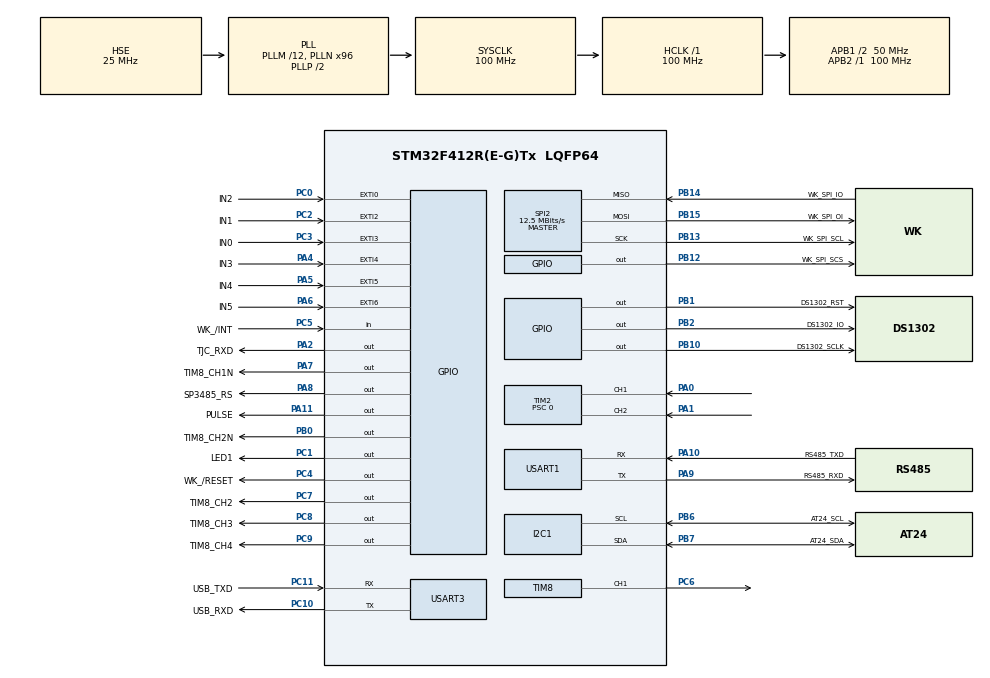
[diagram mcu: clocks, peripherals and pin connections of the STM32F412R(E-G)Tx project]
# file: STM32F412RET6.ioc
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Dma.Request0=USART1_RX
Dma.Request1=USART1_TX
Dma.USART1_RX.0.Direction=DMA_PERIPH_TO_MEMORY
Dma.USART1_RX.0.FIFOMode=DMA_FIFOMODE_DISABLE
Dma.USART1_RX.0.Instance=DMA2_Stream2
Dma.USART1_RX.0.MemDataAlignment=DMA_MDATAALIGN_BYTE
Dma.USART1_RX.0.MemInc=DMA_MINC_ENABLE
Dma.USART1_RX.0.Mode=DMA_NORMAL
Dma.USART1_RX.0.PeriphDataAlignment=DMA_PDATAALIGN_BYTE
Dma.USART1_RX.0.PeriphInc=DMA_PINC_DISABLE
Dma.USART1_RX.0.Priority=DMA_PRIORITY_LOW
Dma.USART1_TX.1.Direction=DMA_MEMORY_TO_PERIPH
Dma.USART1_TX.1.FIFOMode=DMA_FIFOMODE_DISABLE
Dma.USART1_TX.1.Instance=DMA2_Stream7
Dma.USART1_TX.1.MemDataAlignment=DMA_MDATAALIGN_BYTE
Dma.USART1_TX.1.MemInc=DMA_MINC_ENABLE
Dma.USART1_TX.1.Mode=DMA_NORMAL
Dma.USART1_TX.1.PeriphDataAlignment=DMA_PDATAALIGN_BYTE
Dma.USART1_TX.1.PeriphInc=DMA_PINC_DISABLE
Dma.USART1_TX.1.Priority=DMA_PRIORITY_LOW
FREERTOS.Queues01=myQueue01,5,uint8_t,0,Dynamic,NULL,NULL
FREERTOS.Tasks01=defaultTask,24,128,StartDefaultTask,Default,NULL,Dynamic,NULL,NULL;myTask01,8,128,StartTask01,Default,NULL,Dynamic,NULL,NULL
FREERTOS.configMAX_TASK_NAME_LEN=32
I2C1.I2C_Mode=I2C_Fast
IWDG.Prescaler=IWDG_PRESCALER_256
IWDG.Reload=4000
Mcu.Family=STM32F4
Mcu.Name=STM32F412R(E-G)Tx
Mcu.Package=LQFP64
NVIC.DMA2_Stream2_IRQn=true\:5\:0\:false\:false\:true\:true\:false\:true\:true
NVIC.DMA2_Stream7_IRQn=true\:5\:0\:false\:false\:true\:true\:false\:true\:true
NVIC.EXTI0_IRQn=true\:5\:0\:false\:false\:true\:true\:true\:true\:true
NVIC.EXTI2_IRQn=true\:5\:0\:false\:false\:true\:true\:true\:true\:true
NVIC.EXTI3_IRQn=true\:5\:0\:false\:false\:true\:true\:true\:true\:true
NVIC.I2C1_ER_IRQn=true\:5\:0\:false\:false\:true\:true\:true\:true\:true
NVIC.I2C1_EV_IRQn=true\:5\:0\:false\:false\:true\:true\:true\:true\:true
NVIC.PriorityGroup=NVIC_PRIORITYGROUP_4
NVIC.SPI2_IRQn=true\:5\:0\:false\:false\:true\:true\:true\:true\:true
NVIC.TIM1_UP_TIM10_IRQn=true\:15\:0\:false\:false\:true\:false\:false\:true\:true
NVIC.TIM2_IRQn=true\:5\:0\:true\:false\:true\:true\:true\:true\:true
NVIC.TIM3_IRQn=true\:6\:0\:true\:false\:true\:true\:true\:true\:true
NVIC.TIM8_BRK_TIM12_IRQn=true\:5\:0\:false\:false\:true\:true\:true\:true\:true
NVIC.TIM8_CC_IRQn=true\:5\:0\:false\:false\:true\:true\:true\:true\:true
NVIC.TIM8_TRG_COM_TIM14_IRQn=true\:5\:0\:false\:false\:true\:true\:true\:true\:true
NVIC.TIM8_UP_TIM13_IRQn=true\:5\:0\:false\:false\:true\:true\:true\:true\:true
NVIC.TimeBase=TIM1_UP_TIM10_IRQn
NVIC.TimeBaseIP=TIM1
NVIC.USART1_IRQn=true\:5\:0\:false\:false\:true\:true\:true\:true\:true
NVIC.USART3_IRQn=true\:5\:0\:false\:false\:true\:true\:true\:true\:true
PA0.GPIO_PuPd=GPIO_PULLUP
PA0.Signal=S_TIM2_CH1_ETR
PA1.GPIO_PuPd=GPIO_PULLUP
PA1.Signal=S_TIM2_CH2
PA10.GPIO_Label=RS485_TXD
PA10.Mode=Asynchronous
PA10.Signal=USART1_RX
PA11.GPIO_Label=PULSE
PA11.GPIO_PuPd=GPIO_PULLDOWN
PA11.Signal=GPIO_Output
PA13.GPIO_Label=TMS
PA13.Mode=JTAG_5_pins
PA13.Signal=SYS_JTMS-SWDIO
PA14.GPIO_Label=TCK
PA14.Mode=JTAG_5_pins
PA14.Signal=SYS_JTCK-SWCLK
PA15.GPIO_Label=TDI
PA15.Mode=JTAG_5_pins
PA15.Signal=SYS_JTDI
PA2.GPIO_Label=TJC_RXD
PA2.GPIO_PuPd=GPIO_PULLDOWN
PA2.Signal=GPIO_Output
PA4.GPIO_Label=IN3
PA4.GPIO_ModeDefaultEXTI=GPIO_MODE_IT_FALLING
PA4.Signal=GPXTI4
PA5.GPIO_Label=IN4
PA5.GPIO_ModeDefaultEXTI=GPIO_MODE_IT_FALLING
PA5.Signal=GPXTI5
PA6.GPIO_Label=IN5
PA6.GPIO_ModeDefaultEXTI=GPIO_MODE_IT_FALLING
PA6.Signal=GPXTI6
PA7.GPIO_Label=TIM8_CH1N
PA7.GPIO_PuPd=GPIO_NOPULL
PA7.PinState=GPIO_PIN_RESET
PA7.Signal=GPIO_Output
PA8.GPIO_Label=SP3485_RS
PA8.Signal=GPIO_Output
PA9.GPIO_Label=RS485_RXD
PA9.Mode=Asynchronous
PA9.Signal=USART1_TX
PB0.GPIO_Label=TIM8_CH2N
PB0.GPIO_PuPd=GPIO_PULLUP
PB0.PinState=GPIO_PIN_RESET
PB0.Signal=GPIO_Output
PB1.GPIO_Label=DS1302_RST
PB1.Signal=GPIO_Output
PB10.GPIO_Label=DS1302_SCLK
PB10.GPIO_PuPd=GPIO_PULLUP
PB10.Signal=GPIO_Output
PB12.GPIO_Label=WK_SPI_SCS
PB12.GPIO_ModeDefaultOutputPP=GPIO_MODE_OUTPUT_PP
PB12.GPIO_PuPd=GPIO_PULLUP
PB12.Signal=GPIO_Output
PB13.GPIO_Label=WK_SPI_SCL
PB13.Mode=Full_Duplex_Master
PB13.Signal=SPI2_SCK
PB14.GPIO_Label=WK_SPI_IO
PB14.Mode=Full_Duplex_Master
PB14.Signal=SPI2_MISO
PB15.GPIO_Label=WK_SPI_OI
PB15.Mode=Full_Duplex_Master
PB15.Signal=SPI2_MOSI
PB2.GPIO_Label=DS1302_IO
PB2.Signal=GPIO_Output
PB3.GPIO_Label=TDO
PB3.Mode=JTAG_5_pins
PB3.Signal=SYS_JTDO-SWO
PB4.GPIO_Label=NTRST
PB4.Mode=JTAG_5_pins
PB4.Signal=SYS_JTRST
PB6.GPIO_Label=AT24_SCL
PB6.Mode=I2C
PB6.Signal=I2C1_SCL
PB7.GPIO_Label=AT24_SDA
PB7.Mode=I2C
PB7.Signal=I2C1_SDA
PC0.GPIO_Label=IN2
PC0.GPIO_ModeDefaultEXTI=GPIO_MODE_IT_FALLING
PC0.Signal=GPXTI0
PC1.GPIO_Label=LED1
PC1.GPIO_PuPd=GPIO_PULLUP
PC1.Signal=GPIO_Output
PC10.GPIO_Label=USB_RXD
PC10.Mode=Asynchronous
PC10.Signal=USART3_TX
PC11.GPIO_Label=USB_TXD
PC11.Mode=Asynchronous
PC11.Signal=USART3_RX
PC2.GPIO_Label=IN1
PC2.GPIO_ModeDefaultEXTI=GPIO_MODE_IT_FALLING
PC2.Signal=GPXTI2
PC3.GPIO_Label=IN0
PC3.GPIO_ModeDefaultEXTI=GPIO_MODE_IT_FALLING
PC3.Signal=GPXTI3
PC4.GPIO_Label=WK_/RESET
PC4.Signal=GPIO_Output
PC5.GPIO_Label=WK_/INT
PC5.Signal=GPIO_Input
PC6.GPIO_Speed=GPIO_SPEED_FREQ_HIGH
PC6.Signal=S_TIM8_CH1
PC7.GPIO_Label=TIM8_CH2
PC7.GPIO_PuPd=GPIO_NOPULL
PC7.Signal=GPIO_Output
PC8.GPIO_Label=TIM8_CH3
PC8.GPIO_ModeDefaultOutputPP=GPIO_MODE_OUTPUT_PP
PC8.GPIO_PuPd=GPIO_PULLUP
PC8.PinState=GPIO_PIN_RESET
PC8.Signal=GPIO_Output
PC9.GPIO_Label=TIM8_CH4
PC9.GPIO_PuPd=GPIO_PULLUP
PC9.PinState=GPIO_PIN_RESET
PC9.Signal=GPIO_Output
PH0\ -\ OSC_IN.Mode=HSE-External-Oscillator
PH0\ -\ OSC_IN.Signal=RCC_OSC_IN
PH1\ -\ OSC_OUT.Mode=HSE-External-Oscillator
PH1\ -\ OSC_OUT.Signal=RCC_OSC_OUT
ProjectManager.HeapSize=0x200
ProjectManager.StackSize=0x400
ProjectManager.TargetToolchain=MDK-ARM V5.32
RCC.AHBFreq_Value=100000000
RCC.APB1CLKDivider=RCC_HCLK_DIV2
RCC.APB1Freq_Value=50000000
RCC.APB1TimFreq_Value=100000000
RCC.APB2Freq_Value=100000000
RCC.APB2TimFreq_Value=100000000
RCC.CortexFreq_Value=100000000
RCC.HCLKFreq_Value=100000000
RCC.PLLM=12
RCC.PLLN=96
RCC.PLLSourceVirtual=RCC_PLLSOURCE_HSE
RCC.SYSCLKFreq_VALUE=100000000
RCC.SYSCLKSource=RCC_SYSCLKSOURCE_PLLCLK
RCC.USBFreq_Value=100000000
RCC.VCOOutputFreq_Value=200000000
SH.S_TIM2_CH1_ETR.0=TIM2_CH1,Encoder_Interface
SH.S_TIM2_CH2.0=TIM2_CH2,Encoder_Interface
SH.S_TIM8_CH1.0=TIM8_CH1,PWM Generation1 CH1
SPI2.BaudRatePrescaler=SPI_BAUDRATEPRESCALER_4
SPI2.CLKPhase=SPI_PHASE_2EDGE
SPI2.CLKPolarity=SPI_POLARITY_HIGH
SPI2.CalculateBaudRate=12.5 MBits/s
SPI2.Direction=SPI_DIRECTION_2LINES
SPI2.Mode=SPI_MODE_MASTER
SPI2.VirtualType=VM_MASTER
TIM13.AutoReloadPreload=TIM_AUTORELOAD_PRELOAD_ENABLE
TIM13.Period=80-1
TIM13.Prescaler=100-1
TIM2.EncoderMode=TIM_ENCODERMODE_TI12
TIM2.IC1Filter=6
TIM2.IC2Filter=6
TIM2.Period=20000
TIM2.Prescaler=0
TIM3.AutoReloadPreload=TIM_AUTORELOAD_PRELOAD_ENABLE
TIM3.Period=1000-1
TIM3.Prescaler=100-1
TIM8.AutoReloadPreload=TIM_AUTORELOAD_PRELOAD_ENABLE
TIM8.Channel-PWM\ Generation1\ CH1=TIM_CHANNEL_1
TIM8.OCPolarity_1=TIM_OCPOLARITY_LOW
TIM8.Period=100-1
TIM8.Prescaler=100-1
TIM8.Pulse-PWM\ Generation1\ CH1=10
USART1.VirtualMode=VM_ASYNC
USART3.VirtualMode=VM_ASYNC
VP_FREERTOS_VS_CMSIS_V2.Mode=CMSIS_V2
VP_IWDG_VS_IWDG.Mode=IWDG_Activate
VP_SYS_VS_tim1.Mode=TIM1
VP_TIM13_VS_ClockSourceINT.Mode=Enable_Timer
VP_TIM3_VS_ClockSourceINT.Mode=Internal
board=custom

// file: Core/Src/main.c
/* USER CODE BEGIN Header */
/**
  ******************************************************************************
  * @file           : main.c
  * @brief          : Main program body
  ******************************************************************************
  * @attention
  *
  * Copyright (c) 2024 STMicroelectronics.
  * All rights reserved.
  *
  * This software is licensed under terms that can be found in the LICENSE file
  * in the root directory of this software component.
  * If no LICENSE file comes with this software, it is provided AS-IS.
  *
  ******************************************************************************
  */
/* USER CODE END Header */
#include "main.h"
#include "cmsis_os.h"
#include "dma.h"
#include "i2c.h"
#include "iwdg.h"
#include "spi.h"
#include "tim.h"
#include "usart.h"
#include "gpio.h"

void SystemClock_Config(void);
void MX_FREERTOS_Init(void);

int main(void)
{

  /* MCU Configuration--------------------------------------------------------*/

  /* Reset of all peripherals, Initializes the Flash interface and the Systick. */
  HAL_Init();

  /* Configure the system clock */
  SystemClock_Config();

  /* Initialize all configured peripherals */
  MX_GPIO_Init();
  MX_DMA_Init();
  MX_TIM2_Init();
  MX_USART1_UART_Init();
  MX_I2C1_Init();
  MX_SPI2_Init();
  MX_TIM3_Init();
  MX_TIM8_Init();
  MX_TIM13_Init();
  MX_USART3_UART_Init();
  MX_IWDG_Init();

  /* Init scheduler */
  osKernelInitialize();  /* Call init function for freertos objects (in freertos.c) */
  MX_FREERTOS_Init();

  /* Start scheduler */
  osKernelStart();

  /* We should never get here as control is now taken by the scheduler */
  /* Infinite loop */
  while (1)
  {

  }
}

void SystemClock_Config(void)
{
  RCC_OscInitTypeDef RCC_OscInitStruct = {0};
  RCC_ClkInitTypeDef RCC_ClkInitStruct = {0};

  /** Configure the main internal regulator output voltage
  */
  __HAL_RCC_PWR_CLK_ENABLE();
  __HAL_PWR_VOLTAGESCALING_CONFIG(PWR_REGULATOR_VOLTAGE_SCALE1);

  /** Initializes the RCC Oscillators according to the specified parameters
  * in the RCC_OscInitTypeDef structure.
  */
  RCC_OscInitStruct.OscillatorType = RCC_OSCILLATORTYPE_LSI|RCC_OSCILLATORTYPE_HSE;
  RCC_OscInitStruct.HSEState = RCC_HSE_ON;
  RCC_OscInitStruct.LSIState = RCC_LSI_ON;
  RCC_OscInitStruct.PLL.PLLState = RCC_PLL_ON;
  RCC_OscInitStruct.PLL.PLLSource = RCC_PLLSOURCE_HSE;
  RCC_OscInitStruct.PLL.PLLM = 12;
  RCC_OscInitStruct.PLL.PLLN = 96;
  RCC_OscInitStruct.PLL.PLLP = RCC_PLLP_DIV2;
  RCC_OscInitStruct.PLL.PLLQ = 2;
  RCC_OscInitStruct.PLL.PLLR = 2;
  if (HAL_RCC_OscConfig(&RCC_OscInitStruct) != HAL_OK)
  {
    Error_Handler();
  }

  /** Initializes the CPU, AHB and APB buses clocks
  */
  RCC_ClkInitStruct.ClockType = RCC_CLOCKTYPE_HCLK|RCC_CLOCKTYPE_SYSCLK
                              |RCC_CLOCKTYPE_PCLK1|RCC_CLOCKTYPE_PCLK2;
  RCC_ClkInitStruct.SYSCLKSource = RCC_SYSCLKSOURCE_PLLCLK;
  RCC_ClkInitStruct.AHBCLKDivider = RCC_SYSCLK_DIV1;
  RCC_ClkInitStruct.APB1CLKDivider = RCC_HCLK_DIV2;
  RCC_ClkInitStruct.APB2CLKDivider = RCC_HCLK_DIV1;

  if (HAL_RCC_ClockConfig(&RCC_ClkInitStruct, FLASH_LATENCY_3) != HAL_OK)
  {
    Error_Handler();
  }
}

/* USER CODE BEGIN 4 */

void HAL_GPIO_EXTI_Callback(uint16_t GPIO_Pin)//GPIO中断回调函数
{
	if(GPIO_Pin==IN0_Pin)//尾
	{
		flag_Extreme_position=1;
		flag_Zero_regression=0;
	}

	else if(GPIO_Pin==IN1_Pin)//原点
	{
		flag_Zero_regression=1;
		number_Hard_trigger_curren=0;
		DO_CEASE;//PA7-电机使能
		HAL_TIM_PWM_Stop_IT(&htim8,TIM_CHANNEL_1);//关闭PWM输出
		number_Motor_pulsec=0;
		flag_Encoder_processing=1;
		variable_Position=0;
		variable_Position_upload=0;
	}

	else if(GPIO_Pin==IN2_Pin)//头
	{
		flag_Extreme_position=1;
		flag_Zero_regression=0;
	}
}

/* USER CODE END 4 */

/**
  * @brief  Period elapsed callback in non blocking mode
  * @note   This function is called  when TIM1 interrupt took place, inside
  * HAL_TIM_IRQHandler(). It makes a direct call to HAL_IncTick() to increment
  * a global variable "uwTick" used as application time base.
  * @param  htim : TIM handle
  * @retval None
  */\
uint8_t asdf;
void HAL_TIM_PeriodElapsedCallback(TIM_HandleTypeDef *htim)
{
  if (htim->Instance == TIM1) {
    HAL_IncTick();
  }
  /* USER CODE BEGIN Callback 1 */
	if(htim->Instance==TIM8)//PWM输出
	{
		flag_Encoder_processing=1;
//		if(COROTATION&&MOTION&&AWAY)//正转
		if(COROTATION&&MOTION)//正转
		{
			number_Motor_pulsec++;
//			if(number_Motor_pulsec==10000)
//			{
//				DO_CEASE;//PA7-电机使能
//				HAL_TIM_PWM_Stop_IT(&htim8,TIM_CHANNEL_1);//关闭PWM输出
//			}
		}
//		else if(REVERSAL&&MOTION&&AWAY)//反转
		else if(REVERSAL&&MOTION)//反转
		{
			number_Motor_pulsec--;
		}
	}
	if(htim->Instance==TIM13)//硬触发定时50us一次
	{
		if(HAL_GPIO_ReadPin(TJC_RXD_GPIO_Port,TJC_RXD_Pin)==GPIO_PIN_SET)
		{
			asdf++;
			if(asdf==49)
			{
				HAL_TIM_Base_Stop_IT(&htim13);
				HAL_GPIO_WritePin(TJC_RXD_GPIO_Port, TJC_RXD_Pin, GPIO_PIN_RESET);//硬触发关闭
				asdf=0;
			}
		}
	}
  /* USER CODE END Callback 1 */
}

void Error_Handler(void)
{
  __disable_irq();
  while (1)
  {
  }
}

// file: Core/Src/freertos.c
/* USER CODE BEGIN Header */
/**
  ******************************************************************************
  * File Name          : freertos.c
  * Description        : Code for freertos applications
  ******************************************************************************
  * @attention
  *
  * Copyright (c) 2024 STMicroelectronics.
  * All rights reserved.
  *
  * This software is licensed under terms that can be found in the LICENSE file
  * in the root directory of this software component.
  * If no LICENSE file comes with this software, it is provided AS-IS.
  *
  ******************************************************************************
  */
/* USER CODE END Header */

#include "FreeRTOS.h"
#include "task.h"
#include "main.h"
#include "cmsis_os.h"

/* USER CODE BEGIN Includes */

/* TIM8_CH1(PWM输出)-OUT1；TIM8_CH1N(电机使能)-OUT2；TIM8_CH2(电机方向控制)-OUT3；TIM8_CH2N(伺服复位)-OUT4；TIM8_CH3(雷达上电)-OUT5；TIM8_CH4(清除滞留脉冲)-OUT6 */

/* USER CODE END Includes */

/* USER CODE BEGIN PTD */
wiz_NetInfo gWIZNETINFO = {
  .mac = { 0x80, 0x80, 0x80,0x80,0x80,0x80 },//MSB - LSB
  .ip  = { 192, 168, 1, 11 },
  .sn  = { 255, 255, 255, 0 },
  .gw  = { 192, 168, 1, 1 },//网关参数
  .dns  = { 8, 8, 8, 8 },
  .dhcp = NETINFO_STATIC };

uint8_t receive_buff[RECEIVE_BUFF_SIZE];

/***********************************************variable***********************************/
float    variable_Position=0;//距0点位置,单位mm
uint32_t variable_Position_upload=0;//距0点距离上传值（单位0.001mm）
uint32_t variable_Zero_return_speed_value=10000;//回零速度（单位0.001mm/s）
uint32_t variable_Running_speed_value=5000;//运行速度（单位0.001mm/s）
uint32_t variable_Target_position=0;//目标位置
uint32_t variable_Zero_position=0;//零点位置
uint32_t variable_Hard_trigger_interval=0;//硬触发时间间隔
uint32_t variable_Hard_trigger_position=0;//硬触发开始位置
uint32_t variable_Trigger_interval;//触发间隔
float    variable_Position_lastpulsec;//上次硬触发位置
uint16_t variable_Current_speed=0;//当前运行速度

/***********************************************flag***************************************/
uint8_t flag_Extreme_position=0;//极限位置标志位
uint8_t flag_Position_upload=1;//位置上传标志位
uint8_t flag_Encoder_processing=0;//编码器数据处理标志位
uint8_t flag_Zero_regression=0;//是否回零过标志位
uint8_t flag_Absolute_position=0;//绝对位置标志位
uint8_t flag_Hard_trigger_start=0;//硬触发开始标志位
uint8_t flag_Hard_trigger=0;//硬触发标志位
uint8_t flag_Motor_deceleration_stops=0;//点击减速停止标志位

/***********************************************number*************************************/
uint16_t number_Hard_trigger=0;//硬触发个数
uint16_t number_Hard_trigger_curren=0;//硬触发当前个数
uint8_t  number_Iwdg=0;//看门狗计数
int32_t  number_Motor_pulsec;//输入电机脉冲数

/* USER CODE END PTD */

/* Definitions for defaultTask */
osThreadId_t defaultTaskHandle;
const osThreadAttr_t defaultTask_attributes = {
  .name = "defaultTask",
  .stack_size = 128 * 4,
  .priority = (osPriority_t) osPriorityNormal,
};
/* Definitions for myTask01 */
osThreadId_t myTask01Handle;
const osThreadAttr_t myTask01_attributes = {
  .name = "myTask01",
  .stack_size = 128 * 4,
  .priority = (osPriority_t) osPriorityLow,
};
/* Definitions for myQueue01 */
osMessageQueueId_t myQueue01Handle;
const osMessageQueueAttr_t myQueue01_attributes = {
  .name = "myQueue01"
};

/* USER CODE BEGIN FunctionPrototypes */
osThreadId_t Ethernet_ServerTaskHandle;
const osThreadAttr_t Ethernet_ServerTask_attributes = {
  .name = "Ethernet_ServerTask",
  .stack_size = 256 * 4,
  .priority = (osPriority_t) osPriorityLow1,
};

osThreadId_t EncoderTaskHandle;
const osThreadAttr_t EncoderTask_attributes = {
  .name = "EncoderTask",
  .stack_size = 128 * 4,
  .priority = (osPriority_t) osPriorityLow1,
};

osThreadId_t DriveTaskHandle;
const osThreadAttr_t DriveTask_attributes = {
  .name = "DriveTask",
  .stack_size = 128 * 4,
  .priority = (osPriority_t) osPriorityLow1,
};

osThreadId_t Motor_driveTaskHandle;
const osThreadAttr_t Motor_driveTask_attributes = {
  .name = "Motor_driveTask",
  .stack_size = 128 * 4,
  .priority = (osPriority_t) osPriorityLow2,
};

osThreadId_t Pulse_EmissionTaskHandle;
const osThreadAttr_t Pulse_EmissionTask_attributes = {
  .name = "Pulse_EmissionTask",
  .stack_size = 128 * 4,
  .priority = (osPriority_t) osPriorityLow3,
};

osThreadId_t Extreme_position_DriveTaskHandle;
const osThreadAttr_t Extreme_position_DriveTask_attributes = {
  .name = "Extreme_position_DriveTask",
  .stack_size = 128 * 4,
  .priority = (osPriority_t) osPriorityLow,
};

osThreadId_t Uart3_CommunicateTaskHandle;
const osThreadAttr_t Uart3_CommunicateTask_attributes = {
  .name = "Uart3_CommunicateTask",
  .stack_size = 128 * 4,
  .priority = (osPriority_t) osPriorityLow,
};

osThreadId_t Iwdg_functionTaskHandle;
const osThreadAttr_t Iwdg_functionTask_attributes = {
  .name = "Iwdg_functionTask",
  .stack_size = 128 * 4,
  .priority = (osPriority_t) osPriorityLow,
};

osThreadId_t Motor_deceleration_stopsTaskHandle;
const osThreadAttr_t Motor_deceleration_stopsTask_attributes = {
  .name = "Motor_deceleration_stopsTask",
  .stack_size = 128 * 4,
  .priority = (osPriority_t) osPriorityLow2,
};

osMessageQueueId_t Ethernet_ReceiveHandle;
const osMessageQueueAttr_t Ethernet_Receive_attributes = {
  .name = "Ethernet_Receive"
};

osMessageQueueId_t Ethernet_SendHandle;
const osMessageQueueAttr_t Ethernet_Send_attributes = {
  .name = "Ethernet_Send"
};

osMessageQueueId_t Motor_driveQueueHandle;
const osMessageQueueAttr_t Motor_driveQueue_attributes = {
  .name = "Motor_driveQueue"
};

void Ethernet_Server(void *argument);//网络通信-服务端
void Encoder(void *argument);//电动机编码器通讯
void Drive(void *argument);//控制驱动器
void Motor_drive(void *argument);//电机加速启动
void Pulse_Emission(void *argument);//脉冲发射
void Extreme_position_Drive(void *argument);//极限位置控制
void Uart3_Communicate(void *argument);//极限位置控制
void Iwdg_function(void *argument);//看门狗函数
void Motor_deceleration_stops(void *argument);//电机减速停止
/* USER CODE END FunctionPrototypes */

void StartDefaultTask(void *argument);
void StartTask01(void *argument);

void MX_FREERTOS_Init(void); /* (MISRA C 2004 rule 8.1) */

void MX_FREERTOS_Init(void) {

  /* Create the queue(s) */
  /* creation of myQueue01 */
  myQueue01Handle = osMessageQueueNew (5, sizeof(uint8_t), &myQueue01_attributes);

  /* Create the thread(s) */
  /* creation of defaultTask */
  defaultTaskHandle = osThreadNew(StartDefaultTask, NULL, &defaultTask_attributes);

  /* creation of myTask01 */
  myTask01Handle = osThreadNew(StartTask01, NULL, &myTask01_attributes);

  /* USER CODE BEGIN RTOS_THREADS */
	Ethernet_ServerTaskHandle = osThreadNew(Ethernet_Server, NULL, &Ethernet_ServerTask_attributes);
	EncoderTaskHandle = osThreadNew(Encoder, NULL, &EncoderTask_attributes);
	DriveTaskHandle = osThreadNew(Drive, NULL, &DriveTask_attributes);
	Motor_driveTaskHandle = osThreadNew(Motor_drive, NULL, &Motor_driveTask_attributes);
	Pulse_EmissionTaskHandle = osThreadNew(Pulse_Emission, NULL, &Pulse_EmissionTask_attributes);
	Extreme_position_DriveTaskHandle = osThreadNew(Extreme_position_Drive, NULL, &Extreme_position_DriveTask_attributes);
	Uart3_CommunicateTaskHandle = osThreadNew(Uart3_Communicate, NULL, &Uart3_CommunicateTask_attributes);
	Iwdg_functionTaskHandle = osThreadNew(Iwdg_function, NULL, &Iwdg_functionTask_attributes);
	Motor_deceleration_stopsTaskHandle = osThreadNew(Motor_deceleration_stops, NULL, &Motor_deceleration_stopsTask_attributes);

	Ethernet_ReceiveHandle = osMessageQueueNew (10, 20*sizeof(uint8_t), &Ethernet_Receive_attributes);
	Ethernet_SendHandle = osMessageQueueNew (5, 20*sizeof(uint8_t), &Ethernet_Send_attributes);
	Motor_driveQueueHandle = osMessageQueueNew (5, 3*sizeof(uint8_t), &Motor_driveQueue_attributes);

  /* add threads, ... */
  /* USER CODE END RTOS_THREADS */

  /* USER CODE BEGIN RTOS_EVENTS */
	if(REACH)//原点判断
	{
		variable_Position=0;
		flag_Zero_regression=1;
		number_Motor_pulsec=0;
	}
	else
	{
		number_Motor_pulsec=0xffffff;
		variable_Position=2000;
	}
  /* add events, ... */
  /* USER CODE END RTOS_EVENTS */

}

void StartDefaultTask(void *argument)
{
  for(;;)
  {
    osDelay(1);
  }
}

void StartTask01(void *argument)
{
  /* USER CODE BEGIN StartTask01 */
  /* Infinite loop */
  for(;;)
  {
    osDelay(1);
		osDelay(100);
		HAL_GPIO_TogglePin(GPIOC, LED1_Pin);
  }
  /* USER CODE END StartTask01 */
}

/* USER CODE BEGIN Application */

void Ethernet_Server(void *argument)//网口通信-服务端
{
  W5500Init();//w5500初始化
  ctlnetwork(CN_SET_NETINFO, (void*)&gWIZNETINFO);  //配置网络参数
  wiz_PhyConf phyconf;
  phyconf.by = PHY_CONFBY_SW;
  phyconf.duplex = PHY_DUPLEX_FULL;
  phyconf.speed = PHY_SPEED_10;
  phyconf.mode = PHY_MODE_AUTONEGO;
  ctlwizchip(CW_SET_PHYCONF, (void*)&phyconf); //配置PHY参数
  for(;;)
  {
		net_process_socket(1, LISTEN_PORT_1);
		net_process_socket(2, LISTEN_PORT_2);
		osDelay(10);
  }
}

void Drive(void *argument)//控制驱动器
{
	uint8_t	 array_Send_buff[13];
	uint8_t  array_Drive_control[20];	//驱动器控制数组
	uint8_t  array_Motor_drive_send[3];//电机驱动数组
	uint8_t  status=0;
	uint32_t variable_Zero_return_creep_speed_value=0;//回零蠕变速度
	uint16_t number_Data_bytes=0;//数据字节
  for(;;)
  {
		osDelay(1);
		status=osMessageQueueGet(Ethernet_ReceiveHandle,array_Drive_control,NULL,10);
		if(status==osOK)
		{
			number_Iwdg=0;
			array_Send_buff[0]=array_Drive_control[0];//0X19;事务处理标识
			array_Send_buff[1]=array_Drive_control[1];//0XB2;事务处理标识
			array_Send_buff[2]=0X00;//协议标识符，00 00为modbus协议
			array_Send_buff[3]=0X00;//协议标识符，00 00为modbus协议
			array_Send_buff[6]=array_Drive_control[6];//0XDB;设备地址
			array_Send_buff[7]=array_Drive_control[7];//功能码
			switch(array_Drive_control[7])//判断功能码
			{
				case 0x01://读线圈(MBAP 功能码 起始地址H 起始地址L 线圈数量H 线圈数量L)
					if(array_Drive_control[8]==0x20)//判断起始地址
					{
						switch(array_Drive_control[9])//判断起始地址
						{
							case 0x0A://原点回归完成标志

								break;

							case 0x64://伺服运动状态
								array_Send_buff[4]=0X00;//数据长度
								array_Send_buff[5]=0X05;//数据长度
								array_Send_buff[8]=0X01;//接下来数据的字节长度
								if(MOTION)//运动
								{
									array_Send_buff[9]=0X01;//数据
								}
								else if(CEASE)//停止
								{
									array_Send_buff[9]=0X00;//数据
								}
								send(1,array_Send_buff,10);//向客户端发送
								break;

							case 0x01://原点回归/停止
								array_Send_buff[4]=0X00;//数据长度
								array_Send_buff[5]=0X05;//数据长度
								array_Send_buff[8]=0X01;//接下来数据的字节长度
								if(CEASE&&REACH)//回零
								{
									array_Send_buff[9]=0X00;
								}
								else//回零中
								{
									array_Send_buff[9]=0X01;
								}
								send(1,array_Send_buff,10);//向客户端发送
								break;

							case 0x02://正转点动/停止

								break;

							case 0x03://反转点动/停止

								break;

							case 0x04://相对运动/停止

								break;

							case 0x05://绝对运动/停止
								array_Send_buff[4]=0X00;//数据长度
								array_Send_buff[5]=0X05;//数据长度
								array_Send_buff[8]=0X01;//接下来数据的字节长度
								if(MOTION)//运动
								{
									array_Send_buff[9]=0X01;//数据
								}
								else if(CEASE)//停止
								{
									array_Send_buff[9]=0X00;//数据
								}
								send(1,array_Send_buff,10);//向客户端发送
								break;

							case 0x00://硬触发启动/停止
								array_Send_buff[4]=0X00;//数据长度
								array_Send_buff[5]=0X05;//数据长度
								array_Send_buff[8]=0X01;//接下来数据的字节长度
								if(flag_Hard_trigger_start==1)//触发
								{
									array_Send_buff[9]=0X01;//数据
								}
								else//停止
								{
									array_Send_buff[9]=0X00;//数据
								}
								send(1,array_Send_buff,10);//向客户端发送
								break;

							case 0x06://伺服复位
								array_Send_buff[4]=0X00;//数据长度
								array_Send_buff[5]=0X05;//数据长度
								array_Send_buff[8]=0X01;//接下来数据的字节长度
								array_Send_buff[9]=0X01;
								send(1,array_Send_buff,10);//向客户端发送
								break;

							case 0x09://雷达上电/断电
								array_Send_buff[4]=0X00;//数据长度
								array_Send_buff[5]=0X06;//数据长度
								array_Send_buff[8]=0X01;//接下来数据的字节长度
								if(RADAR_ON)//上电
								{
									array_Send_buff[9]=0X01;//数据
								}
								else if(RADAR_OFF)//断电
								{
									array_Send_buff[9]=0X00;//数据
								}
								send(1,array_Send_buff,10);//向客户端发送
								break;

							default:
								break;
						}
					}
					break;

				case 0x02://读离散量输入
					array_Send_buff[4]=0X00;//数据长度
					array_Send_buff[5]=0X04;//数据长度
					array_Send_buff[8]=0X01;//接下来数据的字节长度
					if(array_Drive_control[8]==0x00&&array_Drive_control[9]==0x01)//判断起始地址——正转极限光电状态
					{
						if(HAL_GPIO_ReadPin(IN2_GPIO_Port,IN2_Pin)==GPIO_PIN_RESET)//到达限位
						{
							array_Send_buff[9]=0X01;//数据
							send(1,array_Send_buff,10);//向客户端发送
						}
						else
						{
							array_Send_buff[9]=0X00;//数据
							send(1,array_Send_buff,10);//向客户端发送
						}
					}
					else if(array_Drive_control[8]==0x00&&array_Drive_control[9]==0x03)//判断起始地址——反转极限光电状态
					{
						if(HAL_GPIO_ReadPin(IN0_GPIO_Port,IN0_Pin)==GPIO_PIN_RESET)//到达限位
						{
							array_Send_buff[9]=0X01;//数据
							send(1,array_Send_buff,10);//向客户端发送
						}
						else
						{
							array_Send_buff[9]=0X00;//数据
							send(1,array_Send_buff,10);//向客户端发送
						}
					}
					else if(array_Drive_control[8]==0x00&&array_Drive_control[9]==0x04)//判断起始地址——零点限位触发状态
					{
						if(HAL_GPIO_ReadPin(IN1_GPIO_Port,IN1_Pin)==GPIO_PIN_RESET)//到达限位
						{
							array_Send_buff[9]=0X01;//数据
							send(1,array_Send_buff,10);//向客户端发送
						}
						else
						{
							array_Send_buff[9]=0X00;//数据
							send(1,array_Send_buff,10);//向客户端发送
						}
					}
					else if(array_Drive_control[8]==0x00&&array_Drive_control[9]==0x05)//判断起始地址——伺服报警状态
					{

					}
					break;

				case 0x03://读保持寄存器(MBAP 功能码 起始地址H 起始地址L 寄存器数量H 寄存器数量L)
					number_Data_bytes=(array_Drive_control[10]<<8|array_Drive_control[11])*2;//大端传输数据处理——读取数据字节
					array_Send_buff[4]=0X00;//数据长度
					array_Send_buff[5]=0x03+number_Data_bytes;//数据长度
					if(array_Drive_control[8]==0x01)//判断起始地址
					{
						if(number_Data_bytes==0x02)
						{
							if(array_Drive_control[9]==0x4A)//判断起始地址——加速时间
							{
								array_Send_buff[8]=number_Data_bytes;//接下来数据的字节长度
								array_Send_buff[9]=0X00;//数据
								array_Send_buff[10]=0X00;//数据
								send(1,array_Send_buff,11);//向客户端发送
							}
							else if(array_Drive_control[9]==0x4E)//判断起始地址——减速时间
							{
								array_Send_buff[8]=number_Data_bytes;//接下来数据的字节长度
								array_Send_buff[9]=0X00;//数据
								array_Send_buff[10]=0X00;//数据
								send(1,array_Send_buff,11);//向客户端发送
							}
							else if(array_Drive_control[9]==0x00)//判断起始地址——实时位置上传控制
							{
								array_Send_buff[8]=number_Data_bytes;//接下来数据的字节长度
								array_Send_buff[9]=(variable_Position_upload>>8)&0xFF;//数据
								array_Send_buff[10]=variable_Position_upload&0xFF;//数据
								send(1,array_Send_buff,11);//向客户端发送
							}
							else if(array_Drive_control[9]==0x30)//判断起始地址——硬触发个数
							{
								array_Send_buff[8]=number_Data_bytes;//接下来数据的字节长度
								array_Send_buff[9]=(number_Hard_trigger>>8)&0xFF;//数据
								array_Send_buff[10]=number_Hard_trigger&0xFF;//数据
								send(1,array_Send_buff,11);//向客户端发送
							}
							else if(array_Drive_control[9]==0x32)//判断起始地址——当前硬触发个数
							{
								array_Send_buff[8]=number_Data_bytes;//接下来数据的字节长度
								array_Send_buff[9]=0X00;//数据
								array_Send_buff[10]=0X00;//数据
								send(1,array_Send_buff,11);//向客户端发送
							}
							else if(array_Drive_control[9]==0x77)//判断起始地址——上电后是否执行过归零
							{
								array_Send_buff[8]=number_Data_bytes;//接下来数据的字节长度
								if(flag_Zero_regression==1)
								{
									array_Send_buff[9]=0X00;//数据
									array_Send_buff[10]=0X01;//数据
									send(1,array_Send_buff,11);//向客户端发送
								}
								else if(flag_Zero_regression==0)
								{
									array_Send_buff[9]=0X00;//数据
									array_Send_buff[10]=0X00;//数据
									send(1,array_Send_buff,11);//向客户端发送
								}
							}
						}
						else if(number_Data_bytes==0x04)
						{
							if(array_Drive_control[9]==0x2C)//判断起始地址——起始硬触发位置
							{
								array_Send_buff[8]=number_Data_bytes;//接下来数据的字节长度
								array_Send_buff[11]=(variable_Hard_trigger_position>>24)&0xFF;//数据
								array_Send_buff[12]=(variable_Hard_trigger_position>>16)&0xFF;//数据
								array_Send_buff[9]=(variable_Hard_trigger_position>>8)&0xFF;//数据
								array_Send_buff[10]=variable_Hard_trigger_position&0xFF;//数据
								send(1,array_Send_buff,13);//向客户端发送
							}
							else if(array_Drive_control[9]==0x2E)//判断起始地址——硬触发间隔
							{
								array_Send_buff[8]=number_Data_bytes;//接下来数据的字节长度
								array_Send_buff[11]=(variable_Hard_trigger_interval>>24)&0xFF;//寄存器1H-数据
								array_Send_buff[12]=(variable_Hard_trigger_interval>>16)&0xFF;//寄存器1L数据
								array_Send_buff[9]=(variable_Hard_trigger_interval>>8)&0xFF;//寄存器2H数据
								array_Send_buff[10]=variable_Hard_trigger_interval&0xFF;//寄存器2L数据
								send(1,array_Send_buff,13);//向客户端发送
							}
						}
					}

					else if(array_Drive_control[8]==0x00)//判断起始地址
					{
						if(number_Data_bytes==0x02)
						{
							if(array_Drive_control[9]==0x20)//判断起始地址——伺服错误代码
							{
								array_Send_buff[8]=number_Data_bytes;//接下来数据的字节长度
								array_Send_buff[9]=0X00;//数据
								array_Send_buff[10]=0X00;//数据
								send(1,array_Send_buff,11);//向客户端发送
							}
							else if(array_Drive_control[9]==0x96)//判断起始地址——PLC错误代码
							{
								array_Send_buff[8]=number_Data_bytes;//接下来数据的字节长度
								array_Send_buff[9]=0X00;//数据
								array_Send_buff[10]=0X00;//数据
								send(1,array_Send_buff,11);//向客户端发送
							}
						}
						else if(number_Data_bytes==0x04)
						{
							if(array_Drive_control[9]==0x64)//判断起始地址——回零速度
							{
								array_Send_buff[8]=number_Data_bytes;//接下来数据的字节长度
								array_Send_buff[11]=(variable_Zero_return_speed_value>>24)&0xFF;//数据
								array_Send_buff[12]=(variable_Zero_return_speed_value>>16)&0xFF;//数据
								array_Send_buff[9]=(variable_Zero_return_speed_value>>8)&0xFF;//数据
								array_Send_buff[10]=variable_Zero_return_speed_value&0xFF;//数据
								send(1,array_Send_buff,13);//向客户端发送
							}
							else if(array_Drive_control[9]==0x68)//判断起始地址——回零蠕变速度
							{
								array_Send_buff[8]=number_Data_bytes;//接下来数据的字节长度
								array_Send_buff[11]=(variable_Zero_return_creep_speed_value>>24)&0xFF;//寄存器1H-数据
								array_Send_buff[12]=(variable_Zero_return_creep_speed_value>>16)&0xFF;//寄存器1L-数据
								array_Send_buff[9]=(variable_Zero_return_creep_speed_value>>8)&0xFF;//寄存器2H-数据
								array_Send_buff[10]=variable_Zero_return_creep_speed_value&0xFF;//寄存器2L-数据
								send(1,array_Send_buff,13);//向客户端发送
							}
							else if(array_Drive_control[9]==0x78)//判断起始地址——运行速度
							{
								array_Send_buff[8]=number_Data_bytes;//接下来数据的字节长度
								array_Send_buff[11]=(variable_Running_speed_value>>24)&0xFF;//寄存器1H-数据
								array_Send_buff[12]=(variable_Running_speed_value>>16)&0xFF;//寄存器1L-数据
								array_Send_buff[9]=(variable_Running_speed_value>>8)&0xFF;//寄存器2H-数据
								array_Send_buff[10]=variable_Running_speed_value&0xFF;//寄存器2L-数据
								send(1,array_Send_buff,13);//向客户端发送
							}
							else if(array_Drive_control[9]==0x7A)//判断起始地址——相对定位距离
							{
								array_Send_buff[8]=number_Data_bytes;//接下来数据的字节长度
								array_Send_buff[11]=0X00;//寄存器1H-数据
								array_Send_buff[12]=0X00;//寄存器1L-数据
								array_Send_buff[9]=0X00;//寄存器2H-数据
								array_Send_buff[10]=0X00;//寄存器2L-数据
								send(1,array_Send_buff,13);//向客户端发送
							}
							else if(array_Drive_control[9]==0x7C)//判断起始地址——绝对定位位置
							{
								array_Send_buff[8]=number_Data_bytes;//接下来数据的字节长度
								array_Send_buff[11]=(variable_Target_position>>24)&0xFF;//寄存器1H-数据
								array_Send_buff[12]=(variable_Target_position>>16)&0xFF;//寄存器1L-数据
								array_Send_buff[9]=(variable_Target_position>>8)&0xFF;//寄存器2H-数据
								array_Send_buff[10]=variable_Target_position&0xFF;//寄存器2L-数据
								send(1,array_Send_buff,13);//向客户端发送
							}
							else if(array_Drive_control[9]==0x7E)//判断起始地址——设备最大运行行程
							{
								array_Send_buff[8]=number_Data_bytes;//接下来数据的字节长度
								array_Send_buff[9]=0X00;//寄存器1H-数据
								array_Send_buff[10]=0X00;//寄存器1L-数据
								array_Send_buff[11]=0X00;//寄存器2H-数据
								array_Send_buff[12]=0X00;//寄存器2L-数据
								send(1,array_Send_buff,13);//向客户端发送
							}
							else if(array_Drive_control[9]==0x80)//判断起始地址——零点位置坐标
							{
								array_Send_buff[8]=number_Data_bytes;//接下来数据的字节长度
								array_Send_buff[11]=(variable_Zero_position>>24)&0xFF;//寄存器1H-数据
								array_Send_buff[12]=(variable_Zero_position>>16)&0xFF;//寄存器1L-数据
								array_Send_buff[9]=(variable_Zero_position>>8)&0xFF;//寄存器2H-数据
								array_Send_buff[10]=variable_Zero_position&0xFF;//寄存器2L-数据
								send(1,array_Send_buff,13);//向客户端发送
							}
							else if(array_Drive_control[9]==0x87)//判断起始地址——实时位置主动读取
							{
								array_Send_buff[8]=number_Data_bytes;//接下来数据的字节长度
								array_Send_buff[11]=(variable_Position_upload>>24)&0xFF;//寄存器1H-数据
								array_Send_buff[12]=(variable_Position_upload>>16)&0xFF;//寄存器1L-数据
								array_Send_buff[9]=(variable_Position_upload>>8)&0xFF;//寄存器2H-数据
								array_Send_buff[10]=variable_Position_upload&0xFF;//寄存器2L-数据
								send(1,array_Send_buff,13);//向客户端发送
							}
						}
					}
					break;

				case 0x05://写单个线圈(请求：MBAP 功能码 寄存器地址H 寄存器地址L 数据H(FF/00) 数据L(00))
					array_Send_buff[4]=0X00;//数据长度
					array_Send_buff[5]=0X06;//数据长度
					array_Send_buff[8]=array_Drive_control[8];//寄存器地址H
					array_Send_buff[9]=array_Drive_control[9];//寄存器地址H
					if(array_Drive_control[8]==0x20)//判断起始地址
					{
						switch(array_Drive_control[9])//判断起始地址
						{
							case 0x01://原点回归/停止
								if(array_Drive_control[10]==0xFF)//回归
								{
									if(AWAY&&CEASE)//不在原点且停止运动
									{
										array_Send_buff[10]=0XFF;
										array_Send_buff[11]=0X00;
										send(1,array_Send_buff,12);//向客户端发送
										flag_Extreme_position=0;
										flag_Zero_regression=0;
										variable_Target_position=0;//绝对定位位置设置为0
										if(HAL_GPIO_ReadPin(IN0_GPIO_Port,IN0_Pin)==GPIO_PIN_RESET)//在头部-正向移动
										{
											array_Motor_drive_send[0]=GPIO_PIN_RESET;
											array_Motor_drive_send[1]=(variable_Zero_return_speed_value/1000)>>8&0xff;
											array_Motor_drive_send[2]=variable_Zero_return_speed_value/1000&0xff;
											osMessageQueuePut(Motor_driveQueueHandle,array_Motor_drive_send,1,0);
										}
										else
										{
											array_Motor_drive_send[0]=GPIO_PIN_SET;
											array_Motor_drive_send[1]=(variable_Zero_return_speed_value/1000)>>8&0xff;
											array_Motor_drive_send[2]=variable_Zero_return_speed_value/1000&0xff;
											osMessageQueuePut(Motor_driveQueueHandle,array_Motor_drive_send,1,0);
										}
									}
								}
								else if(array_Drive_control[10]==0x00)//停止
								{
									array_Send_buff[10]=0X00;
									array_Send_buff[11]=0X00;
									send(1,array_Send_buff,12);//向客户端发送
									DO_CEASE;//PA7-电机使能
									HAL_TIM_PWM_Stop_IT(&htim8,TIM_CHANNEL_1);//关闭PWM输出
								}
								break;

							case 0x02://正转点动/停止
								if(array_Drive_control[10]==0xFF)//开始
								{
									array_Send_buff[10]=0XFF;
									array_Send_buff[11]=0X00;
									send(1,array_Send_buff,12);//向客户端发送
									array_Motor_drive_send[0]=GPIO_PIN_RESET;
									array_Motor_drive_send[1]=(variable_Running_speed_value/1000)>>8&0xff;
									array_Motor_drive_send[2]=variable_Running_speed_value/1000&0xff;
									osMessageQueuePut(Motor_driveQueueHandle,array_Motor_drive_send,1,0);
								}
								else//停止
								{
									array_Send_buff[10]=0X00;
									array_Send_buff[11]=0X00;
									send(1,array_Send_buff,12);//向客户端发送
//									DO_CEASE;//PA7-电机使能
//									HAL_TIM_PWM_Stop_IT(&htim8,TIM_CHANNEL_1);//关闭PWM输出
									flag_Motor_deceleration_stops=3;
								}
								break;

							case 0x03://反转点动/停止
								if(array_Drive_control[10]==0xFF)//开始
								{
									array_Send_buff[10]=0XFF;
									array_Send_buff[11]=0X00;
									send(1,array_Send_buff,12);//向客户端发送
									array_Motor_drive_send[0]=GPIO_PIN_SET;
									array_Motor_drive_send[1]=(variable_Running_speed_value/1000)>>8&0xff;
									array_Motor_drive_send[2]=variable_Running_speed_value/1000&0xff;
									osMessageQueuePut(Motor_driveQueueHandle,array_Motor_drive_send,1,0);
								}
								else//停止
								{
									array_Send_buff[10]=0X00;
									array_Send_buff[11]=0X00;
									send(1,array_Send_buff,12);//向客户端发送
//									DO_CEASE;//PA7-电机使能
//									HAL_TIM_PWM_Stop_IT(&htim8,TIM_CHANNEL_1);//关闭PWM输出
									flag_Motor_deceleration_stops=3;
								}
								break;

							case 0x04://相对运动/停止
								if(array_Drive_control[10]==0xFF)//开始
								{
									array_Send_buff[10]=0XFF;
									array_Send_buff[11]=0X00;
									send(1,array_Send_buff,12);//向客户端发送
									if(CEASE)
									{
										array_Motor_drive_send[0]=GPIO_PIN_RESET;
										array_Motor_drive_send[1]=(variable_Running_speed_value/1000)>>8&0xff;
										array_Motor_drive_send[2]=variable_Running_speed_value/1000&0xff;
										osMessageQueuePut(Motor_driveQueueHandle,array_Motor_drive_send,1,0);
									}
								}
								else//停止
								{
									array_Send_buff[10]=0X00;
									array_Send_buff[11]=0X00;
									send(1,array_Send_buff,12);//向客户端发送
//									DO_CEASE;//PA7-电机使能
//									HAL_TIM_PWM_Stop_IT(&htim8,TIM_CHANNEL_1);//关闭PWM输出
									flag_Motor_deceleration_stops=3;
								}
								break;

							case 0x05://绝对运动/停止
								if(array_Drive_control[10]==0xFF)//开始
								{
									array_Send_buff[10]=0XFF;
									array_Send_buff[11]=0X00;
									send(1,array_Send_buff,12);//向客户端发送
									if(CEASE&&flag_Extreme_position==0)
									{
										if(variable_Position_upload*10<variable_Target_position||variable_Position<0)//当前位置小于目标位置或当前位置小于0-正向移动
										{
											array_Motor_drive_send[0]=GPIO_PIN_RESET;
											array_Motor_drive_send[1]=(variable_Running_speed_value/1000)>>8&0xff;
											array_Motor_drive_send[2]=variable_Running_speed_value/1000&0xff;
											osMessageQueuePut(Motor_driveQueueHandle,array_Motor_drive_send,1,0);
										}
										else if(variable_Position_upload*10>variable_Target_position&&AWAY)//当前位置大于目标位置且不在原点-反向移动
										{
											array_Motor_drive_send[0]=GPIO_PIN_SET;
											array_Motor_drive_send[1]=(variable_Running_speed_value/1000)>>8&0xff;
											array_Motor_drive_send[2]=variable_Running_speed_value/1000&0xff;
											osMessageQueuePut(Motor_driveQueueHandle,array_Motor_drive_send,1,0);
										}
									}
								}
								else//停止
								{
									array_Send_buff[10]=0X00;
									array_Send_buff[11]=0X00;
									send(1,array_Send_buff,12);//向客户端发送
//									DO_CEASE;//PA7-电机使能
//									HAL_TIM_PWM_Stop_IT(&htim8,TIM_CHANNEL_1);//关闭PWM输出
									flag_Motor_deceleration_stops=3;
								}
								break;

							case 0x14://停止运动状态
								if(array_Drive_control[10]==0xFF)//停止
								{
									array_Send_buff[10]=0XFF;
									array_Send_buff[11]=0X00;
//									DO_CEASE;//PA7-电机使能
//									HAL_TIM_PWM_Stop_IT(&htim8,TIM_CHANNEL_1);//关闭PWM输出
									flag_Motor_deceleration_stops=3;
								}
								else
								{
									array_Send_buff[10]=0X00;
									array_Send_buff[11]=0X00;
								}
								send(1,array_Send_buff,12);//向客户端发送
								break;

							case 0x00://硬触发启动/停止
								if(array_Drive_control[10]==0xFF)//开始
								{
									flag_Hard_trigger_start=1;
									array_Send_buff[10]=0XFF;
									array_Send_buff[11]=0X00;
								}
								else//停止
								{
									flag_Hard_trigger_start=0;
									array_Send_buff[10]=0X00;
									array_Send_buff[11]=0X00;
								}
								send(1,array_Send_buff,12);//向客户端发送
								break;

							case 0x06://伺服复位
								if(array_Drive_control[10]==0xFF)
								{
									array_Send_buff[10]=0XFF;
									array_Send_buff[11]=0X00;
									send(1,array_Send_buff,12);//向客户端发送
								}
								else if(array_Drive_control[10]==0x00)
								{
									array_Send_buff[10]=0X00;
									array_Send_buff[11]=0X00;
									send(1,array_Send_buff,12);//向客户端发送
								}
								break;

							case 0x07://伺服急停
								if(array_Drive_control[10]==0xFF)
								{
									array_Send_buff[10]=0XFF;
									array_Send_buff[11]=0X00;
								}
								else
								{
									array_Send_buff[10]=0X00;
									array_Send_buff[11]=0X00;
								}
								send(1,array_Send_buff,12);//向客户端发送
								break;

							case 0x09://雷达上电/断电
								if(array_Drive_control[10]==0xFF)
								{
									array_Send_buff[10]=0XFF;
									array_Send_buff[11]=0X00;
									DO_RADAR_ON;
								}
								else
								{
									array_Send_buff[10]=0X00;
									array_Send_buff[11]=0X00;
									DO_RADAR_OFF;
								}
								send(1,array_Send_buff,12);//向客户端发送
								break;

							case 0x0F://PLC错误清除
								if(array_Drive_control[10]==0xFF)
								{
									array_Send_buff[10]=0XFF;
									array_Send_buff[11]=0X00;
								}
								else
								{
									array_Send_buff[10]=0X00;
									array_Send_buff[11]=0X00;
								}
								send(1,array_Send_buff,12);//向客户端发送
								break;

							default:
								break;
						}
					}
					break;

				case 0x06://写单个保持寄存器(请求：MBAP 功能码 寄存器地址H 寄存器地址L 寄存器值H 寄存器值L)
//					if(CEASE)//未开始运动
//					{
						array_Send_buff[4]=0X00;//数据长度
						array_Send_buff[5]=0X06;//数据长度
						array_Send_buff[8]=array_Drive_control[8];//寄存器地址
						array_Send_buff[9]=array_Drive_control[9];//寄存器地址
						array_Send_buff[10]=array_Drive_control[10];//寄存器值H
						array_Send_buff[11]=array_Drive_control[11];//寄存器值L
						if(array_Drive_control[8]==0x01)//判断起始地址
						{
							if(array_Drive_control[9]==0x4A)//判断起始地址——加速时间
							{
								send(1,array_Send_buff,12);//向客户端发送
							}
							else if(array_Drive_control[9]==0x4E)//判断起始地址——减速时间
							{
								send(1,array_Send_buff,12);//向客户端发送
							}
							else if(array_Drive_control[9]==0x00)//判断起始地址——实时位置上传控制
							{
								if(array_Drive_control[10]||array_Drive_control[11])
								{
									flag_Position_upload=1;//开始实时位置上传
								}
								else
								{
									flag_Position_upload=0;//停止实时位置上传
								}
								send(1,array_Send_buff,12);//向客户端发送
							}
							else if(array_Drive_control[9]==0x30)//判断起始地址——硬触发个数
							{
								number_Hard_trigger=(array_Drive_control[10]<<8|array_Drive_control[11]);//大端传输数据处理——硬触发个数
								send(1,array_Send_buff,12);//向客户端发送
							}
						}
//					}
					break;

				case 0x10://写多个保持寄存器(请求：MBAP(7位) 功能码 起始地址H 起始地址L 寄存器数量H 寄存器数量L 字节长度 寄存器值)
//				if(CEASE)//未开始运动
//				{
						array_Send_buff[4]=0X00;//数据长度
						array_Send_buff[5]=0X06;//数据长度
						array_Send_buff[8]=array_Drive_control[8];//寄存器起始地址H
						array_Send_buff[9]=array_Drive_control[9];//寄存器起始地址L
						array_Send_buff[10]=array_Drive_control[10];//寄存器数量H
						array_Send_buff[11]=array_Drive_control[11];//寄存器数量L
						if(array_Drive_control[8]==0x00)//判断起始地址
						{
							if(array_Drive_control[9]==0x64)//判断起始地址——回零速度
							{
								variable_Zero_return_speed_value=(array_Drive_control[13]<<8|array_Drive_control[14]|array_Drive_control[15]<<24|array_Drive_control[16]<<16);//大端传输数据处理——回零速度0.001mm/s
								send(1,array_Send_buff,12);//向客户端发送
							}
							else if(array_Drive_control[9]==0x68)//判断起始地址——回零蠕变速度
							{
								variable_Zero_return_creep_speed_value=(array_Drive_control[13]<<8|array_Drive_control[14]|array_Drive_control[15]<<24|array_Drive_control[16]<<16);//大端传输数据处理——回零蠕变速度0.001mm/s
								send(1,array_Send_buff,12);//向客户端发送
							}
							else if(array_Drive_control[9]==0x78)//判断起始地址——运行速度
							{
//								variable_Running_speed_value=(array_Drive_control[13]<<24|array_Drive_control[14]<<16|array_Drive_control[15]<<8|array_Drive_control[16]);//大端传输数据处理——运行速度0.001mm/s
								variable_Running_speed_value=(array_Drive_control[13]<<8|array_Drive_control[14]|array_Drive_control[15]<<24|array_Drive_control[16]<<16);//大端传输数据处理——运行速度0.001mm/s
								send(1,array_Send_buff,12);//向客户端发送
							}
							else if(array_Drive_control[9]==0x7A)//判断起始地址——相对定位距离
							{
								send(1,array_Send_buff,12);//向客户端发送
							}
							else if(array_Drive_control[9]==0x7C)//判断起始地址——绝对定位位置
							{
								flag_Absolute_position=1;
								variable_Target_position=(array_Drive_control[13]<<8|array_Drive_control[14]|array_Drive_control[15]<<24|array_Drive_control[16]<<16);//大端传输数据处理——绝对定位位置0.001mm
								if(variable_Target_position==0x00)
								{
									flag_Extreme_position=0;
									flag_Zero_regression=0;
								}
								send(1,array_Send_buff,12);//向客户端发送
							}
							else if(array_Drive_control[9]==0x7E)//判断起始地址——设备最大运行行程
							{
								send(1,array_Send_buff,12);//向客户端发送
							}
							else if(array_Drive_control[9]==0x80)//判断起始地址——零点位置坐标
							{
								variable_Zero_position=(array_Drive_control[13]<<8|array_Drive_control[14]|array_Drive_control[15]<<24|array_Drive_control[16]<<16);//大端传输数据处理——零点位置0.001mm
								send(1,array_Send_buff,12);//向客户端发送
							}
						}
						else if(array_Drive_control[8]==0x01)//判断起始地址
						{
							if(array_Drive_control[9]==0x2C)//判断起始地址——起始硬触发位置
							{
								variable_Hard_trigger_position=(array_Drive_control[13]<<8|array_Drive_control[14]|array_Drive_control[15]<<24|array_Drive_control[16]<<16);//大端传输数据处理——起始硬触发位置0.001mm
								variable_Position_lastpulsec=variable_Hard_trigger_position;
								send(1,array_Send_buff,12);//向客户端发送
							}
							else if(array_Drive_control[9]==0x2E)//判断起始地址——硬触发间隔
							{
								variable_Hard_trigger_interval=(array_Drive_control[13]<<8|array_Drive_control[14]|array_Drive_control[15]<<24|array_Drive_control[16]<<16);//大端传输数据处理——硬触发间隔0.001mm
								send(1,array_Send_buff,12);//向客户端发送
							}
						}
//					}
					break;

				default:
					break;
			}
			memset(array_Send_buff,0,13);
			memset(array_Drive_control,0,20);
		}
  }
}

void Motor_drive(void *argument)//电机加速启动
{
	uint8_t  status=0;
	uint16_t number_v=0;
	uint16_t number_Reloading;
	uint8_t  array_Motor_drive_receive[3];//电机驱动数组
	__HAL_TIM_CLEAR_IT(&htim8, TIM_IT_UPDATE);
	HAL_TIM_Base_Start_IT(&htim8);//开启TIM8定时器中断（20KHZ，周期50us）
	for(;;)
	{
//		osDelay(1);
		status=osMessageQueueGet(Motor_driveQueueHandle,array_Motor_drive_receive,NULL,5);
		if(status==osOK)
		{
			variable_Current_speed=array_Motor_drive_receive[1]<<8|array_Motor_drive_receive[2];
			DO_MOTION;//PA7-电机使能
			osDelay(1);
			HAL_GPIO_WritePin(TIM8_CH2_GPIO_Port,TIM8_CH2_Pin,(GPIO_PinState)array_Motor_drive_receive[0]);//PC7-电机方向控制(GPIO_PIN_RESET:顺时针，GPIO_PIN_SET:逆时针）
			osDelay(1);
			while(variable_Current_speed>number_v&&MOTION)
			{
				number_v++;
				number_Reloading=(One_Circle_Distance*1000)/number_v;//自动重装载值n=(One_Circle_Distance*1000000*1000)/(variable_Running_speed_value*Subtraction)
				__HAL_TIM_SET_AUTORELOAD(&htim8,number_Reloading-1);//修改自动重装载值
				__HAL_TIM_SET_COMPARE(&htim8, TIM_CHANNEL_1, (number_Reloading/2)-1);//修改占空比
				HAL_TIM_PWM_Start_IT(&htim8,TIM_CHANNEL_1);//启动TIM8_CH1的PWM波输出（中断）
				osDelay(3);
			}
			number_v=0;
		}
		memset(array_Motor_drive_receive,0,3);
	}
}

void Encoder(void *argument)//电动机编码器通讯
{
	uint8_t Real_time_location_array[6]={0xCF,0xAE,0x00,0x00,0x00,0x00};//实时位置数组
  for(;;)
  {
		osDelay(1);
		if(flag_Encoder_processing==1)
		{
			flag_Encoder_processing=0;
			if(REACH)//原点校准
			{
				variable_Position=0;
				variable_Position_upload=0;
			}
			else if(AWAY)
			{
				variable_Position = ((float)number_Motor_pulsec/Subtraction)*One_Circle_Distance;	//距原点距离
				variable_Position_upload = variable_Position*100;//位置上传数据（单位0.01mm）
				if(flag_Zero_regression==1&&flag_Absolute_position==1)//之前回过零且接收到绝对位置
				{
					if(COROTATION)//正向移动
					{
						if(flag_Motor_deceleration_stops==0&&variable_Position_upload*10<variable_Target_position)
						{
							if(0<variable_Running_speed_value&&variable_Running_speed_value<=10000&&variable_Position_upload*10>=variable_Target_position-100)
							{
								flag_Motor_deceleration_stops=1;
							}
							else if(10000<variable_Running_speed_value&&variable_Running_speed_value<=20000&&variable_Position_upload*10>=variable_Target_position-600)
							{
								flag_Motor_deceleration_stops=1;
							}
							else if(20000<variable_Running_speed_value&&variable_Running_speed_value<=30000&&variable_Position_upload*10>=variable_Target_position-1350)
							{
								flag_Motor_deceleration_stops=1;
							}
							else if(30000<variable_Running_speed_value&&variable_Running_speed_value<=40000&&variable_Position_upload*10>=variable_Target_position-2450)
							{
								flag_Motor_deceleration_stops=1;
							}
							else if(40000<variable_Running_speed_value&&variable_Running_speed_value<=50000&&variable_Position_upload*10>=variable_Target_position-3750)
							{
								flag_Motor_deceleration_stops=1;
							}
							else if(50000<variable_Running_speed_value&&variable_Running_speed_value<=60000&&variable_Position_upload*10>=variable_Target_position-5450)
							{
								flag_Motor_deceleration_stops=1;
							}
							else if(60000<variable_Running_speed_value&&variable_Running_speed_value<=70000&&variable_Position_upload*10>=variable_Target_position-7400)
							{
								flag_Motor_deceleration_stops=1;
							}
							else if(70000<variable_Running_speed_value&&variable_Running_speed_value<=80000&&variable_Position_upload*10>=variable_Target_position-9650)
							{
								flag_Motor_deceleration_stops=1;
							}
							else if(80000<variable_Running_speed_value&&variable_Running_speed_value<=90000&&variable_Position_upload*10>=variable_Target_position-12400)
							{
								flag_Motor_deceleration_stops=1;
							}
							else if(90000<variable_Running_speed_value&&variable_Running_speed_value<=100000&&variable_Position_upload*10>=variable_Target_position-15250)
							{
								flag_Motor_deceleration_stops=1;
							}
						}
						else if(flag_Motor_deceleration_stops==2&&variable_Position_upload*10>=variable_Target_position)
						{
							DO_CEASE;//PA7-电机使能
							HAL_TIM_PWM_Stop_IT(&htim8,TIM_CHANNEL_1);//关闭PWM输出
							flag_Absolute_position=0;
							flag_Motor_deceleration_stops=0;
						}
						else if(flag_Motor_deceleration_stops==0&&variable_Position_upload*10>=variable_Target_position+1000)
						{
							flag_Motor_deceleration_stops=3;
							flag_Absolute_position=0;
						}
					}
					else if(REVERSAL)//反向移动
					{
						if(flag_Motor_deceleration_stops==0&&variable_Position_upload*10>variable_Target_position)
						{
							if(0<variable_Running_speed_value&&variable_Running_speed_value<=10000&&variable_Position_upload*10>=variable_Target_position+100)
							{
								flag_Motor_deceleration_stops=1;
							}
							else if(10000<variable_Running_speed_value&&variable_Running_speed_value<=20000&&variable_Position_upload*10<=variable_Target_position+600)
							{
								flag_Motor_deceleration_stops=1;
							}
							else if(20000<variable_Running_speed_value&&variable_Running_speed_value<=30000&&variable_Position_upload*10<=variable_Target_position+1350)
							{
								flag_Motor_deceleration_stops=1;
							}
							else if(30000<variable_Running_speed_value&&variable_Running_speed_value<=40000&&variable_Position_upload*10<=variable_Target_position+2450)
							{
								flag_Motor_deceleration_stops=1;
							}
							else if(40000<variable_Running_speed_value&&variable_Running_speed_value<=50000&&variable_Position_upload*10<=variable_Target_position+3750)
							{
								flag_Motor_deceleration_stops=1;
							}
							else if(50000<variable_Running_speed_value&&variable_Running_speed_value<=60000&&variable_Position_upload*10<=variable_Target_position+5450)
							{
								flag_Motor_deceleration_stops=1;
							}
							else if(60000<variable_Running_speed_value&&variable_Running_speed_value<=70000&&variable_Position_upload*10<=variable_Target_position+7400)
							{
								flag_Motor_deceleration_stops=1;
							}
							else if(70000<variable_Running_speed_value&&variable_Running_speed_value<=80000&&variable_Position_upload*10<=variable_Target_position+9650)
							{
								flag_Motor_deceleration_stops=1;
							}
							else if(80000<variable_Running_speed_value&&variable_Running_speed_value<=90000&&variable_Position_upload*10<=variable_Target_position+12400)
							{
								flag_Motor_deceleration_stops=1;
							}
							else if(90000<variable_Running_speed_value&&variable_Running_speed_value<=100000&&variable_Position_upload*10<=variable_Target_position+15250)
							{
								flag_Motor_deceleration_stops=1;
							}
						}
						else if(flag_Motor_deceleration_stops==2&&variable_Position_upload*10<=variable_Target_position)
						{
							DO_CEASE;//PA7-电机使能
							HAL_TIM_PWM_Stop_IT(&htim8,TIM_CHANNEL_1);//关闭PWM输出
							flag_Absolute_position=0;
							flag_Motor_deceleration_stops=0;
						}
						else if(flag_Motor_deceleration_stops==0&&variable_Position_upload*10<=variable_Target_position-1000)
						{
							flag_Motor_deceleration_stops=3;
							flag_Absolute_position=0;
						}
					}
				}
			}
			if(flag_Position_upload==1)//实时位置上传
			{
				Real_time_location_array[2]=variable_Position_upload&0xFF;
				Real_time_location_array[3]=(variable_Position_upload>>8)&0xFF;
				Real_time_location_array[4]=(variable_Position_upload>>16)&0xFF;
				Real_time_location_array[5]=(variable_Position_upload>>24)&0xFF;
				send(2,Real_time_location_array,6);//向客户端发送
			}
			if(flag_Hard_trigger==1)
			{
				variable_Trigger_interval=variable_Position*1000-variable_Position_lastpulsec;
				if(variable_Trigger_interval>=variable_Hard_trigger_interval*10)//.。。。。。。。。。。。。。。。。。。。。。。。。。。。。。。。。。。。。。。。。。。。。。。。
				{
					variable_Position_lastpulsec=variable_Position_lastpulsec+variable_Hard_trigger_interval*10;//.。。。。。。。。。。。。。。。。。。。。。。。。。。。。。。。。。。。。。。。。。。。。。。。
					flag_Hard_trigger=0;
					variable_Trigger_interval=0;
				}
			}
		}
  }
}

void Pulse_Emission(void *argument)//脉冲触发（TIM13通道）
{
  for(;;)
  {
		osDelay(1);
		if(flag_Hard_trigger_start==1&&variable_Position_upload>=variable_Hard_trigger_position&&MOTION)//硬触发条件(硬触发启动，到达硬触发位置，运动状态)
		{
			if(flag_Hard_trigger==0)
			{
				if(number_Hard_trigger_curren<number_Hard_trigger)//硬触发次数判定
				{
					number_Hard_trigger_curren++;
					HAL_GPIO_WritePin(TJC_RXD_GPIO_Port, TJC_RXD_Pin, GPIO_PIN_SET);//PA2-硬触发
					__HAL_TIM_CLEAR_IT(&htim13, TIM_IT_UPDATE);//**********************************清除更新中断请求位,防止开启中断就进入中断*******************************
					HAL_TIM_Base_Start_IT(&htim13);//开启TIM13定时器中断（1MHZ，计数50次，50us）
					flag_Hard_trigger=1;
				}
				else
				{
					number_Hard_trigger_curren=0;
					flag_Hard_trigger_start=0;
				}
			}
		}
		else if(flag_Hard_trigger_start==0)
		{
			number_Hard_trigger_curren=0;
		}
  }
}

void Extreme_position_Drive(void *argument)//极限位置控制
{
  for(;;)
  {
		osDelay(1);
		if(flag_Extreme_position==1)
		{
			DO_CEASE;//PA7-电机使能
			HAL_TIM_PWM_Stop_IT(&htim8,TIM_CHANNEL_1);//关闭PWM输出
		}
  }
}

void Uart3_Communicate(void *argument)//串口通讯
{
	const uint8_t str_date[12] = __DATE__; //示例 "Mar 23 2022"
	const uint8_t str_time[10] = __TIME__;
	uint8_t uart_receive_buff[3];
	uint8_t	VERSION[7];
	uint8_t y1,y2,d1,d2,t1,t2;
  for(;;)
  {
		osDelay(1);
		HAL_UART_Receive_IT(&huart3, uart_receive_buff, 3);
		VERSION[0] = 0XAA;
		VERSION[1] = 0X0C;//轨道号
		y1 = str_date[9] - '0';
		y2 = str_date[10] - '0';
		VERSION[2] = y1 << 4 | y2;
		switch(str_date[2])
    {
        case 'n': //Jan和jun
           VERSION[3] = str_date[1] == 'a' ? 1 : 6; //判断1月还是6月
            break;

        case 'b': //Feb
            VERSION[3] = 2;
            break;

        case 'r': //Mart和Apr
            VERSION[3] = str_date[1] == 'a' ? 3 : 4; //判断3月还是4月
            break;

        case 'y': //May
            VERSION[3] = 5;
            break;

        case 'l': //Jul
            VERSION[3] = 7;
            break;

        case 'g': //Aug
            VERSION[3] = 8;
            break;

        case 'p': //Sep
            VERSION[3] = 9;
            break;

        case 't': //Oct
            VERSION[3] = 0X10; //10
            break;

        case 'v': //Nov
            VERSION[3] = 0X11; //11
            break;

        case 'c': //Dec
            VERSION[3] = 0X12; //12
            break;
    }
		d1 = str_date[4] - '0'; //日期 十位
    d2 = str_date[5] - '0'; //日期 个位
		VERSION[4] = d1 << 4 | d2;
		t1 = str_time[0] - '0'; //小时 十位
    t2 = str_time[1] - '0'; //小时 个位
		VERSION[5] = t1 << 4 | t2;
		VERSION[6] =0xBB;

		if(uart_receive_buff[0]==0XAA && uart_receive_buff[1]==0X01 && uart_receive_buff[2]==0XBB)
		{
			HAL_UART_Transmit(&huart3, VERSION, 7, 10);
		}
		memset(uart_receive_buff, 0, 3);
  }
}

void Iwdg_function(void *argument)//看门狗函数
{
  for(;;)
  {
		osDelay(1);
		if(number_Iwdg<40)//当等于40时，则说明20min没有上位机控制信号，则单片机重启
		{
			number_Iwdg++;
			HAL_IWDG_Refresh(&hiwdg);//最大喂狗时间32s
			osDelay(30000);//30s
		}
	}
}

void Motor_deceleration_stops(void *argument)//电机减速停止
{
	uint16_t number_Reloading;
	uint16_t number_v=0;
  for(;;)
  {
		osDelay(1);
		if(flag_Motor_deceleration_stops==1)//电机开始减速停止
		{
			flag_Motor_deceleration_stops=2;
			number_v=variable_Current_speed;
			while(number_v>5&&MOTION)
			{
				number_v--;
				number_Reloading=5000/number_v;
				__HAL_TIM_SET_AUTORELOAD(&htim8,number_Reloading-1);//修改自动重装载值
				__HAL_TIM_SET_COMPARE(&htim8, TIM_CHANNEL_1, (number_Reloading/2)-1);//修改占空比
				HAL_TIM_PWM_Start_IT(&htim8,TIM_CHANNEL_1);//启动TIM8_CH1的PWM波输出（中断）
				osDelay(3);
			}
		}
		else if(flag_Motor_deceleration_stops==3)
		{
			flag_Motor_deceleration_stops=4;
			number_v=variable_Current_speed;
			while(number_v>1&&MOTION)
			{
				number_v--;
				number_Reloading=5000/number_v;
				__HAL_TIM_SET_AUTORELOAD(&htim8,number_Reloading-1);//修改自动重装载值
				__HAL_TIM_SET_COMPARE(&htim8, TIM_CHANNEL_1, (number_Reloading/2)-1);//修改占空比
				HAL_TIM_PWM_Start_IT(&htim8,TIM_CHANNEL_1);//启动TIM8_CH1的PWM波输出（中断）
				osDelay(3);
			}
			DO_CEASE;//PA7-电机使能
			HAL_TIM_PWM_Stop_IT(&htim8,TIM_CHANNEL_1);//关闭PWM输出
			flag_Motor_deceleration_stops=0;
		}
	}
}

/* USER CODE END Application */
